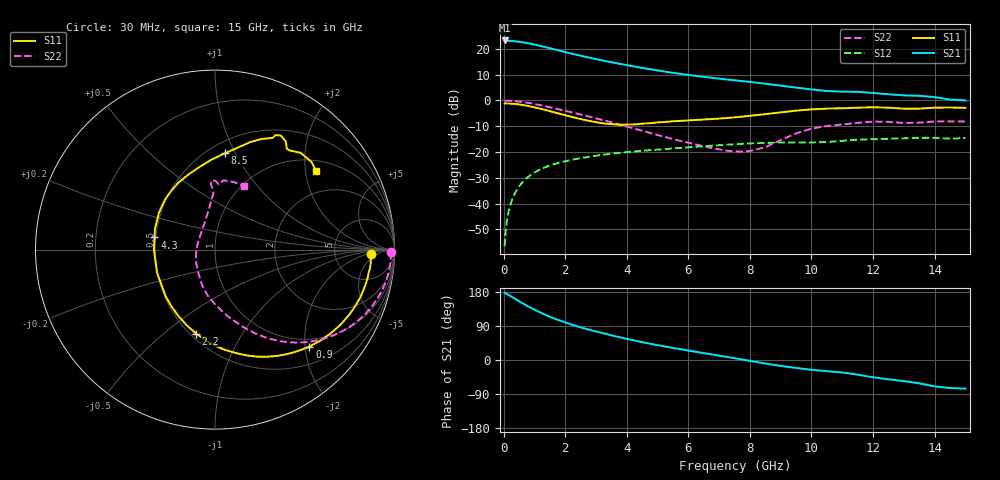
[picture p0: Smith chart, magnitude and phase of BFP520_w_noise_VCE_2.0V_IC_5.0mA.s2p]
! Infineon Technologies  Discrete & RF Semiconductors
! BFP520
! VCE =  2.0 V,  IC =  5.0 mA
! Common Emitter S-Parameters:  Oct 2015
# GHz  S  MA  R  50
!  f  S11  S21  S12  S22
! GHz  MAG  ANG  MAG  ANG  MAG  ANG  MAG  ANG
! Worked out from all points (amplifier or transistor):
!   109 points, 30 MHz to 15 GHz, reference 50 ohm
!   highest |S21| = 23.2 dB at 30 MHz (marker M1)
!   |S21| within 3 dB of that: start of sweep to 1.497 GHz
!   unconditionally stable (mu >= 1): 4.171 GHz to end of sweep
!   at 450 MHz: K = 0.14, MSG = 28.5 dB, |S12| = -34.2 dB
!   at 4 GHz: K = 0.97, MSG = 16.8 dB, |S12| = -20.1 dB
!   at 15 GHz: K = 1.39, MAG = 3.6 dB, |S12| = -14.6 dB
!   lowest NFmin = 1.18 dB at 900 MHz
!   S11 on the Smith chart (normalised r, x): 30 MHz: 14, -3; 900 MHz: 0.83, -2.09; 2.2 GHz: 0.53, -0.65; 4.3 GHz: 0.49, +0.08; 8.5 GHz: 0.60, +0.91; 15 GHz: 1.27, +2.28
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0.03  0.8706 -1.5  14.43 177.9  0.0015 76.6  0.9789 -0.9
0.08  0.8697 -4.1  14.32 175.6  0.0036 82.1  0.9811 -2.6
0.15  0.8666 -7.9  14.23 172.0  0.0066 82.6  0.9791 -5.0
0.25  0.8609 -13.1  14.14 167.2  0.0109 82.0  0.9736 -8.4
0.45  0.8383 -23.4  13.72 157.4  0.0194 77.5  0.9526 -15.1
0.7  0.7954 -36.0  13.04 145.7  0.0294 71.6  0.9113 -23.2
0.9  0.7539 -45.8  12.37 137.1  0.0367 67.1  0.8709 -29.1
1.2  0.6856 -59.8  11.29 125.0  0.0464 61.0  0.8034 -37.2
1.4  0.6399 -68.7  10.55 117.8  0.0521 57.4  0.7566 -42.1
1.8  0.554 -85.9  9.2 104.8  0.0619 51.1  0.668 -50.7
2.2  0.4801 -102.7  8.044 93.7  0.0703 46.0  0.5873 -58.1
2.6  0.4209 -119.4  7.077 83.8  0.0777 41.6  0.5144 -64.7
3  0.3788 -136.5  6.282 75.0  0.0846 37.7  0.4479 -71.1
3.5  0.3475 -158.6  5.467 64.9  0.0924 32.9  0.3748 -79.6
4.3  0.3439 168.6  4.458 50.7  0.103 25.9  0.2779 -94.7
5.1  0.3763 144.4  3.709 37.7  0.1123 19.9  0.2058 -111.0
6.1  0.4114 124.9  3.046 23.5  0.1244 13.0  0.146 -132.0
7.6  0.4739 98.9  2.406 3.4  0.1421 1.5  0.1021 172.9
8.5  0.5399 84.0  2.095 -9.3  0.1504 -6.4  0.1236 127.4
10.5  0.692 63.8  1.515 -29.6  0.156 -18.5  0.3178 91.5
13  0.69 54.6  1.247 -55.8  0.1839 -37.5  0.3644 86.9
15  0.7138 38.1  0.995 -75.6  0.1859 -52.6  0.3889 65.1
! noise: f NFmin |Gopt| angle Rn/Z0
0.45  1.2  0.47  3  0.32
0.9  1.18  0.45  10  0.34
1.9  1.41  0.39  21  0.29
2.4  1.45  0.35  34  0.28
3.5  1.4  0.32  56  0.26
